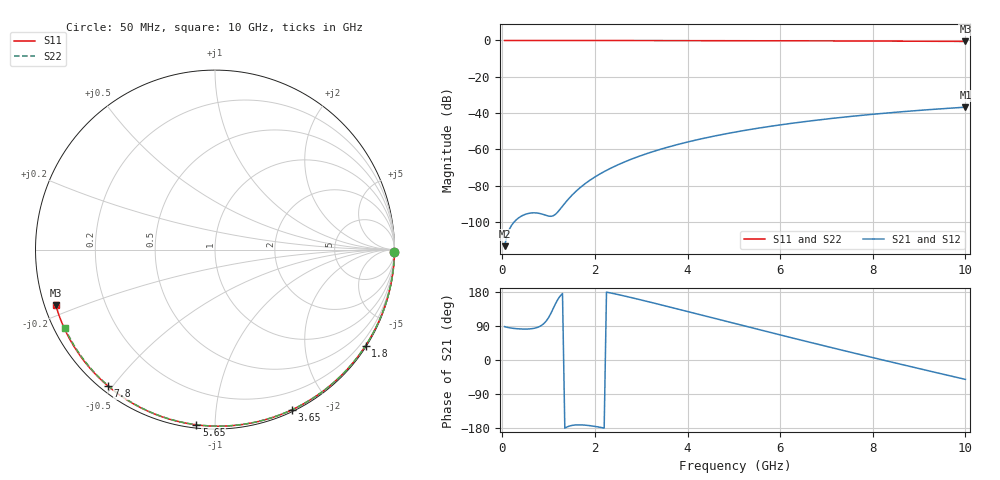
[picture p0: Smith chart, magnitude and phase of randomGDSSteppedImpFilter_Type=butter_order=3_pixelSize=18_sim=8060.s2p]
! freq	dB(S11)	phase(S11)	dB(S12)	phase(S12)
!  dB(S21)	phase(S21)	dB(S22)	phase(S22)
!S-par simulation data
#  GHz  S  DB  R 50
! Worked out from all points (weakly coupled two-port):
!   200 points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, 50 MHz to 10 GHz, reference 50 ohm
!   highest |S21| = -36.75 dB at 10 GHz (marker M1); lowest = -113.3 dB at 50 MHz (marker M2)
!   lowest |S11| = -0.5 dB at 10 GHz (marker M3), VSWR 32.07, Z = 1.6 - j8.42 ohm
!   |S11| at or under -10 dB: nowhere
!   |S22| runs from -0.5 to 0.0 dB; largest |S21 - S12| = 0
!   S11 on the Smith chart (normalised r, x): 50 MHz: open; 1.8 GHz: 0.03, -3.42; 3.65 GHz: 0.02, -1.59; 5.65 GHz: 0.02, -0.90; 7.8 GHz: 0.02, -0.49; 10 GHz: 0.03, -0.17
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0.05  -0.00 -0.9  -113.27 88.1  -113.27 88.1  -0.00 -0.9
0.45  -0.01 -8.3  -96.24 81.7  -96.24 81.7  -0.01 -8.0
0.9  -0.02 -16.5  -95.93 96.4  -95.93 96.4  -0.02 -15.9
1.7  -0.04 -30.8  -80.63 -171.2  -80.63 -171.2  -0.04 -29.7
1.75  -0.04 -31.7  -79.61 -171.5  -79.61 -171.5  -0.04 -30.5
1.8  -0.04 -32.6  -78.64 -172.0  -78.64 -172.0  -0.04 -31.4
2.1  -0.05 -37.8  -73.63 -177.3  -73.63 -177.3  -0.05 -36.5
2.3  -0.05 -41.3  -70.87 178.0  -70.87 178.0  -0.05 -39.8
2.5  -0.06 -44.8  -68.43 172.7  -68.43 172.7  -0.06 -43.2
2.9  -0.07 -51.7  -64.28 161.4  -64.28 161.4  -0.06 -49.8
3.4  -0.08 -60.1  -60.05 146.4  -60.05 146.4  -0.08 -57.9
3.65  -0.09 -64.3  -58.22 138.7  -58.22 138.7  -0.08 -61.9
4.3  -0.11 -74.9  -54.15 118.6  -54.15 118.6  -0.10 -72.1
5.05  -0.13 -86.8  -50.35 95.4  -50.35 95.4  -0.13 -83.5
5.65  -0.16 -96.1  -47.81 76.9  -47.81 76.9  -0.15 -92.3
6.15  -0.19 -103.6  -45.96 61.6  -45.96 61.6  -0.18 -99.6
6.7  -0.22 -111.9  -44.16 45.0  -44.16 45.0  -0.21 -107.3
7.25  -0.26 -120.0  -42.56 28.5  -42.56 28.5  -0.24 -115.0
7.8  -0.30 -128.1  -41.13 12.2  -41.13 12.2  -0.29 -122.5
8.35  -0.35 -136.1  -39.85 -3.9  -39.85 -3.9  -0.33 -130.0
9.2  -0.44 -148.7  -38.12 -28.4  -38.12 -28.4  -0.42 -141.5
10  -0.54 -160.9  -36.75 -51.2  -36.75 -51.2  -0.51 -152.5
